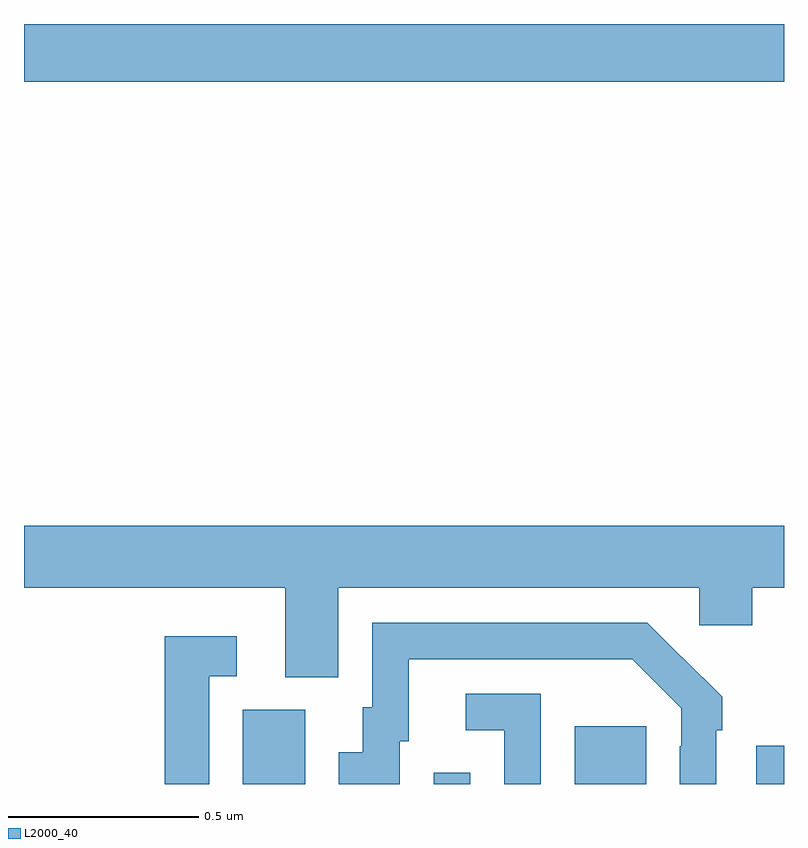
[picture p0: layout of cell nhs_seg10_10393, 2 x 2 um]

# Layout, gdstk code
import gdstk
lib = gdstk.Library(unit=1e-6, precision=1e-09)
def R(c, l, rs):  # rectangles x0, y0, x1, y1
    for r in rs: c.add(gdstk.rectangle(r[:2], r[2:], *l))
def P(c, l, *ps):  # polygons
    for p in ps: c.add(gdstk.Polygon(p, *l))
L2000_40 = (2000, 40)

nhs_seg10_10393 = lib.new_cell('nhs_seg10_10393')
R(nhs_seg10_10393, L2000_40, [(242.576,1266.5,242.74,1266.696), (243.078,1266.5,243.174,1266.529), (243.449,1266.5,243.637,1266.652), (243.927,1266.5,244,1266.601), (242,1268.348,244,1268.5)])
P(nhs_seg10_10393, L2000_40, [(242.827,1267.016),(243.777,1267.016),(243.777,1266.918),(243.916,1266.918),(243.916,1267.016),(244,1267.016),(244,1267.18),(242,1267.18),(242,1267.016),(242.687,1267.016),(242.687,1266.781),(242.827,1266.781)],
  [(242.989,1266.612),(243.013,1266.612),(243.013,1266.828),(243.601,1266.828),(243.729,1266.699),(243.729,1266.599),(243.726,1266.599),(243.726,1266.5),(243.822,1266.5),(243.822,1266.641),(243.837,1266.641),(243.837,1266.729),(243.732,1266.834),(243.731,1266.833),(243.64,1266.924),(242.916,1266.924),(242.916,1266.702),(242.891,1266.702),(242.891,1266.583),(242.828,1266.583),(242.828,1266.5),(242.989,1266.5)],
  [(242.487,1266.783),(242.56,1266.783),(242.56,1266.889),(242.371,1266.889),(242.371,1266.5),(242.487,1266.5)],
  [(243.36,1266.738),(243.162,1266.738),(243.162,1266.642),(243.264,1266.642),(243.264,1266.5),(243.36,1266.5)])

lib.write_gds('nhs_seg10_10393.gds')
